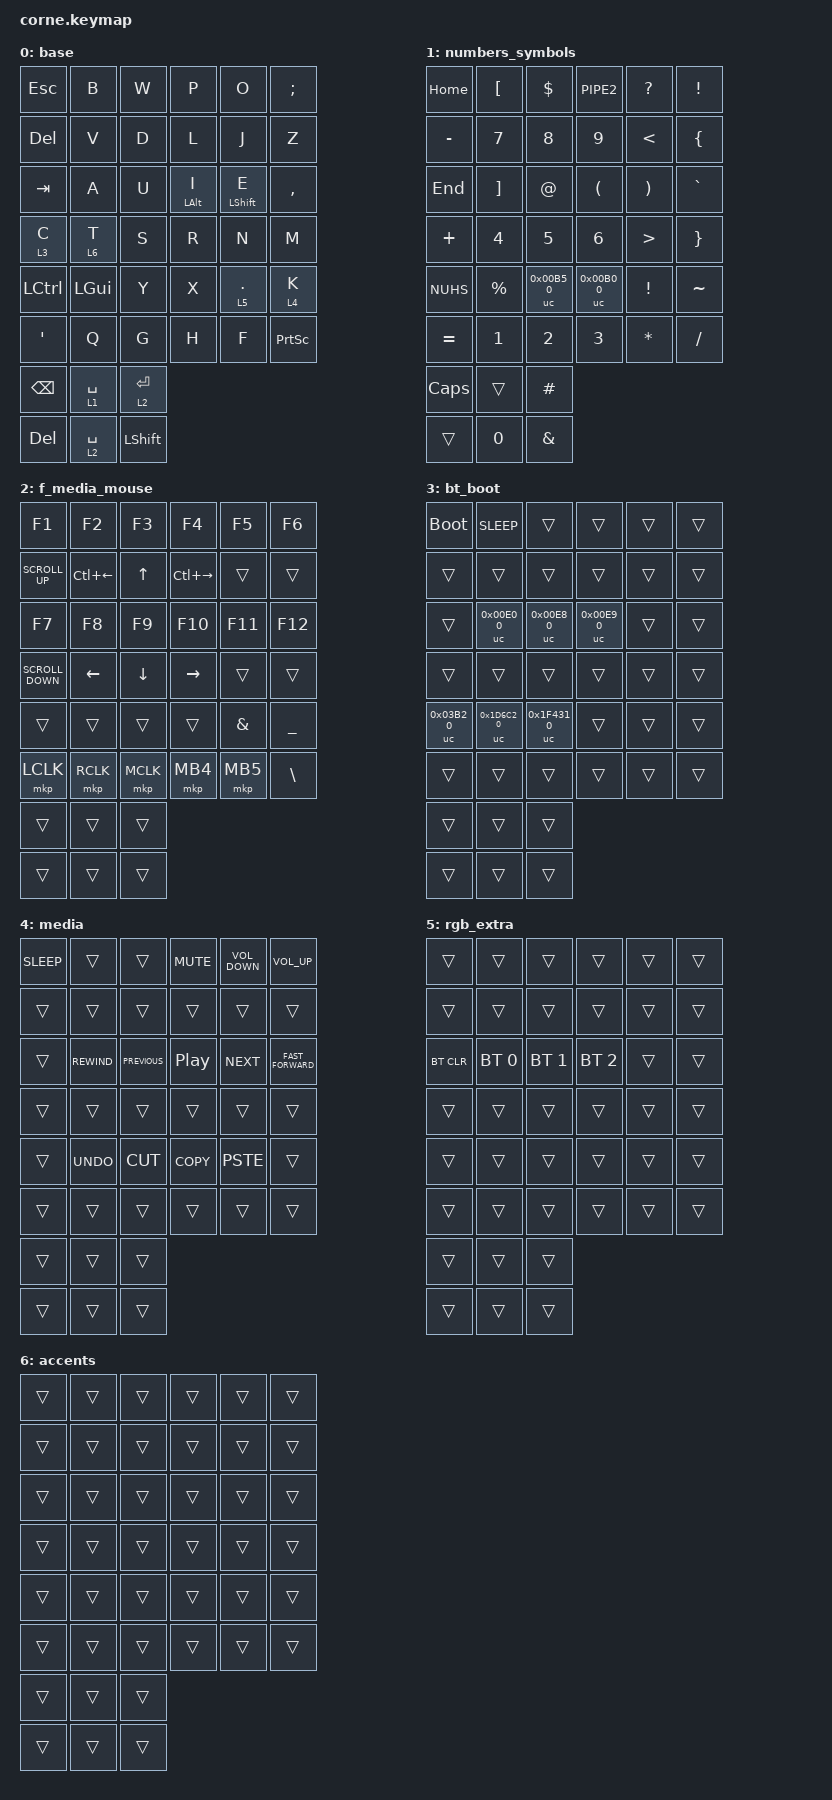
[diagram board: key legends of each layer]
#include <behaviors.dtsi>
#include <behaviors/unicode.dtsi>
#include <dt-bindings/zmk/keys.h>
#include <dt-bindings/zmk/bt.h>
#include <dt-bindings/zmk/outputs.h>
#include <dt-bindings/zmk/pointing.h>
#include <zmk-unicode/keys-extra.h>

&uc {
  default-mode = <UC_MODE_LINUX>;  // Replace with desired input system.
};

/ {
    behaviors {
      lt {
        tapping-term-ms = <280>;  /* default is 200 */
        require-prior-idle-ms = <150>; /* try 100-150 */
        /* you can also set flavor here, but timing is usually the first fix */
        flavor = "tap-preferred"; /* is the default for layer-tap */
      };

      mt {
        tapping-term-ms = <170>;  /* affects your &mt LALT I and &mt LSHIFT E */
      };
    };
  
    keymap {
        compatible = "zmk,keymap";

        // Layer 0: Base
        base {
            bindings = <

                &kp ESC         &kp B           &kp W           &kp P       &kp O     &kp SEMICOLON

                &kp DELETE      &kp V           &kp D           &kp L       &kp J     &kp Z


                &kp TAB         &kp A           &kp U           &mt LALT I  &mt LSHIFT E  &kp COMMA

                &lt 3 C         &lt 6 T         &kp S           &kp R       &kp N     &kp M


                &kp LCTL        &kp LGUI        &kp Y           &kp X       &lt 5 DOT  &lt 4 K
 
                &kp SINGLE_QUOTE &kp Q          &kp G           &kp H       &kp F      &kp PRINTSCREEN


                &kp BACKSPACE    &lt 1 SPACE   &lt 2 ENTER

                &kp DELETE       &lt 2 SPACE   &kp LSHIFT
            >;
        };

        // Layer 1: Numbers/Symbols triggered by LTspace left (TO 1)
        numbers_symbols {
            bindings = <
                &kp HOME        &kp LBKT        &kp DOLLAR      &kp PIPE2   &kp QUESTION    &kp EXCLAMATION

                &kp MINUS       &kp N7          &kp N8          &kp N9      &kp LT          &kp LBRC


                &kp END         &kp RBKT        &kp AT  &kp LEFT_PARENTHESIS &kp RIGHT_PARENTHESIS  &kp GRAVE

                &kp PLUS        &kp N4          &kp N5          &kp N6      &kp GT           &kp RBRC


                &kp NUHS        &kp PERCENT     &uc 0x00B5 0    &uc 0x00B0 0 &kp EXCLAMATION &kp TILDE

                &kp EQUAL       &kp N1          &kp N2          &kp N3      &kp ASTRK       &kp SLASH

                &kp CAPS    &trans    &kp HASH
                &trans      &kp N0    &kp AMPERSAND
            >;
        };

        // Layer 2: F-keys/Media/Mouse triggered by LTspace right & LT enter (left) (TO 2)
        f_media_mouse {
            bindings = <
                &kp F1          &kp F2           &kp F3         &kp F4          &kp F5          &kp F6    

                &kp K_SCROLL_UP &kp LC(LEFT)     &kp UP         &kp LC(RIGHT)   &trans          &trans  //should give me previous and next word (ctrl+ left or ctrl+right)


                &kp F7          &kp F8          &kp F9          &kp F10         &kp F11         &kp F12
                
                &kp K_SCROLL_DOWN &kp LEFT      &kp DOWN        &kp RIGHT       &trans          &trans


                &trans          &trans          &trans          &trans          &kp AMPERSAND   &kp UNDERSCORE

                &mkp LCLK       &mkp RCLK       &mkp MCLK       &mkp MB4        &mkp MB5       &kp BACKSLASH

                &trans  &trans   &trans
                &trans  &trans   &trans
            >;
        };

        // Layer 3: BT/Boot/french signs triggered by C key
        bt_boot {
            bindings = <
//              WORKS??         sleep
                &bootloader     &kp C_SLEEP     &trans          &trans          &trans          &trans  

                &trans          &trans          &trans          &trans          &trans          &trans


//                              à               è               é
                &trans          &uc 0x00E0 0   &uc 0x00E8 0     &uc 0x00E9 0    &trans          &trans
                
                &trans          &trans         &trans           &trans          &trans          &trans

                
//              β               𝛂                               🐱
                &uc 0x03B2 0    &uc 0x1D6C2 0  &uc 0x1F431 0    &trans          &trans          &trans

                &trans          &trans         &trans           &trans          &trans          &trans
                

                &trans          &trans         &trans
                &trans          &trans         &trans 
            >;
        };

        // Layer 4: Media undo/cut/copy/paste triggered by lt K
        media {
            bindings = <
                &kp C_SLEEP     &trans         &trans           &kp C_MUTE      &kp C_VOLUME_DOWN  &kp C_VOLUME_UP

                &trans          &trans         &trans           &trans          &trans             &trans
                
                
                &trans          &kp C_REWIND   &kp C_PREVIOUS   &kp C_PLAY_PAUSE &kp C_NEXT        &kp C_FAST_FORWARD

                &trans         &trans          &trans           &trans          &trans             &trans



                &trans          &kp UNDO       &kp CUT          &kp COPY        &kp PSTE           &trans
               
                &trans         &trans          &trans           &trans          &trans             &trans
               
                
                &trans         &trans          &trans
                &trans         &trans          &trans
            >;
        };

        // Layer 5: bluetooth triggered by lt dot > (left of k)
        rgb_extra {
            bindings = <
                &trans         &trans           &trans          &trans          &trans              &trans
                &trans         &trans           &trans          &trans          &trans              &trans

                &bt BT_CLR     &bt BT_SEL 0	  &bt BT_SEL 1     &bt BT_SEL 2    &trans             &trans
                &trans         &trans           &trans          &trans          &trans              &trans
                
                &trans         &trans           &trans          &trans          &trans              &trans
                &trans         &trans           &trans          &trans          &trans              &trans
                
                &trans         &trans           &trans
                &trans         &trans           &trans
            >;
        };

        // Layer 6: Accents/Unicode
        accents {
            bindings = <
                &trans         &trans           &trans          &trans          &trans              &trans
                &trans         &trans           &trans          &trans          &trans              &trans

                &trans         &trans           &trans          &trans          &trans              &trans                
                &trans         &trans           &trans          &trans          &trans              &trans
                
                &trans         &trans           &trans          &trans          &trans              &trans
                &trans         &trans           &trans          &trans          &trans              &trans
                
                &trans         &trans           &trans
                &trans         &trans           &trans
            >;
        };
    };
};
